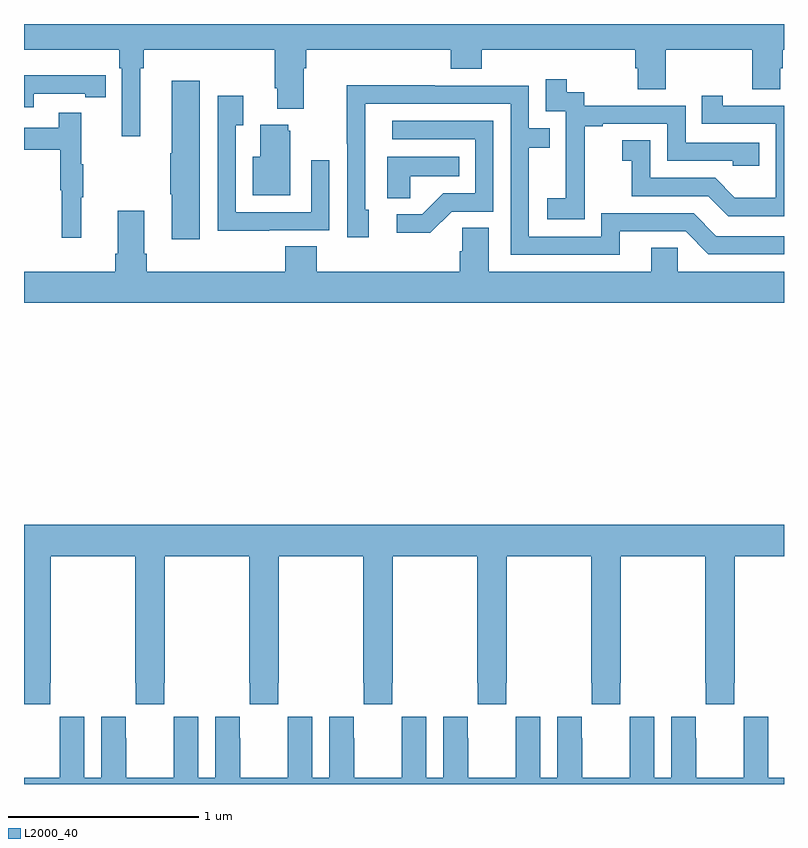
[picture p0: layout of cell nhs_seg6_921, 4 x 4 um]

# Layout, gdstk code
import gdstk
lib = gdstk.Library(unit=1e-6, precision=1e-09)
def P(c, l, *ps):  # polygons
    for p in ps: c.add(gdstk.Polygon(p, *l))
L2000_40 = (2000, 40)

nhs_seg6_921 = lib.new_cell('nhs_seg6_921')
P(nhs_seg6_921, L2000_40, [(169.612,919.268),(169.631,919.268),(169.631,919.364),(170.321,919.364),(170.321,919.162),(170.333,919.162),(170.333,919.055),(170.473,919.055),(170.473,919.268),(170.486,919.268),(170.486,919.364),(171.245,919.364),(171.245,919.265),(171.41,919.265),(171.41,919.364),(172.217,919.364),(172.217,919.266),(172.229,919.266),(172.229,919.156),(172.377,919.156),(172.377,919.364),(172.834,919.364),(172.834,919.156),(172.981,919.156),(172.981,919.266),(172.994,919.266),(172.994,919.364),(173,919.364),(173,919.5),(169,919.5),(169,919.364),(169.502,919.364),(169.502,919.268),(169.515,919.268),(169.515,918.909),(169.612,918.909)],
  [(169.05,919.134),(169.322,919.134),(169.322,919.114),(169.43,919.114),(169.43,919.23),(169.322,919.23),(169.322,919.231),(169,919.231),(169,919.062),(169.05,919.062)],
  [(171.951,918.679),(171.95,918.679),(171.95,918.963),(172.045,918.963),(172.045,918.975),(172.386,918.975),(172.386,918.78),(172.731,918.78),(172.731,918.753),(172.871,918.753),(172.871,918.876),(172.482,918.876),(172.482,919.071),(171.948,919.071),(171.948,919.14),(171.856,919.14),(171.856,919.21),(171.747,919.21),(171.747,919.041),(171.852,919.041),(171.852,918.812),(171.851,918.812),(171.851,918.583),(171.753,918.583),(171.753,918.473),(171.951,918.473)],
  [(169.924,919.201),(169.778,919.201),(169.778,918.821),(169.771,918.821),(169.771,918.604),(169.778,918.604),(169.778,918.366),(169.924,918.366)],
  [(172.135,918.408),(172.482,918.408),(172.602,918.288),(173,918.288),(173,918.384),(172.644,918.384),(172.524,918.504),(172.038,918.504),(172.038,918.381),(171.657,918.381),(171.657,918.85),(171.767,918.85),(171.767,918.951),(171.657,918.951),(171.657,919.176),(171.161,919.176),(171.161,919.178),(170.698,919.178),(170.698,918.871),(170.7,918.871),(170.7,918.378),(170.815,918.378),(170.815,918.522),(170.796,918.522),(170.796,919.08),(171.561,919.08),(171.561,918.285),(172.135,918.285)],
  [(170.291,918.414),(170.607,918.414),(170.607,918.784),(170.511,918.784),(170.511,918.51),(170.115,918.51),(170.115,918.967),(170.155,918.967),(170.155,919.123),(170.019,919.123),(170.019,918.413),(170.291,918.413)],
  [(173,919.071),(172.678,919.071),(172.678,919.123),(172.567,919.123),(172.567,918.975),(172.956,918.975),(172.956,918.586),(172.742,918.586),(172.638,918.69),(172.296,918.69),(172.296,918.889),(172.149,918.889),(172.149,918.779),(172.198,918.779),(172.198,918.594),(172.601,918.594),(172.706,918.489),(173,918.489)],
  [(169.301,918.587),(169.312,918.587),(169.312,918.761),(169.301,918.761),(169.301,919.033),(169.183,919.033),(169.183,918.954),(169,918.954),(169,918.838),(169.191,918.838),(169.191,918.624),(169.198,918.624),(169.198,918.375),(169.301,918.375)],
  [(171.252,918.513),(171.471,918.513),(171.471,918.99),(170.937,918.99),(170.937,918.894),(171.375,918.894),(171.375,918.609),(171.206,918.609),(171.095,918.498),(170.961,918.498),(170.961,918.401),(171.139,918.401)],
  [(170.401,918.939),(170.39,918.939),(170.39,918.97),(170.243,918.97),(170.243,918.802),(170.204,918.802),(170.204,918.599),(170.401,918.599)],
  [(171.033,918.698),(171.29,918.698),(171.29,918.802),(170.912,918.802),(170.912,918.583),(171.033,918.583)],
  [(173,918.196),(172.44,918.196),(172.44,918.323),(172.301,918.323),(172.301,918.196),(171.445,918.196),(171.445,918.428),(171.306,918.428),(171.306,918.305),(171.293,918.305),(171.293,918.196),(170.54,918.196),(170.54,918.329),(170.375,918.329),(170.375,918.196),(169.646,918.196),(169.646,918.292),(169.633,918.292),(169.633,918.517),(169.493,918.517),(169.493,918.292),(169.481,918.292),(169.481,918.196),(169,918.196),(169,918.032),(173,918.032)],
  [(169.137,916.033),(169.14,916.033),(169.14,916.7),(169.585,916.7),(169.585,916.033),(169.587,916.033),(169.587,915.921),(169.737,915.921),(169.737,916.033),(169.74,916.033),(169.74,916.7),(170.185,916.7),(170.185,916.033),(170.187,916.033),(170.187,915.921),(170.337,915.921),(170.337,916.033),(170.34,916.033),(170.34,916.7),(170.785,916.7),(170.785,916.033),(170.787,916.033),(170.787,915.921),(170.937,915.921),(170.937,916.033),(170.94,916.033),(170.94,916.7),(171.385,916.7),(171.385,916.033),(171.387,916.033),(171.387,915.921),(171.537,915.921),(171.537,916.033),(171.54,916.033),(171.54,916.7),(171.985,916.7),(171.985,916.033),(171.987,916.033),(171.987,915.921),(172.137,915.921),(172.137,916.033),(172.14,916.033),(172.14,916.7),(172.585,916.7),(172.585,916.033),(172.587,916.033),(172.587,915.921),(172.737,915.921),(172.737,916.033),(172.74,916.033),(172.74,916.7),(173,916.7),(173,916.864),(169,916.864),(169,915.921),(169.137,915.921)],
  [(173,915.532),(172.918,915.532),(172.918,915.853),(172.788,915.853),(172.788,915.74),(172.787,915.74),(172.787,915.532),(172.537,915.532),(172.537,915.74),(172.536,915.74),(172.536,915.853),(172.406,915.853),(172.406,915.532),(172.318,915.532),(172.318,915.853),(172.188,915.853),(172.188,915.74),(172.187,915.74),(172.187,915.532),(171.937,915.532),(171.937,915.74),(171.936,915.74),(171.936,915.853),(171.806,915.853),(171.806,915.532),(171.718,915.532),(171.718,915.853),(171.588,915.853),(171.588,915.74),(171.587,915.74),(171.587,915.532),(171.337,915.532),(171.337,915.74),(171.336,915.74),(171.336,915.853),(171.206,915.853),(171.206,915.532),(171.118,915.532),(171.118,915.853),(170.988,915.853),(170.988,915.74),(170.987,915.74),(170.987,915.532),(170.737,915.532),(170.737,915.74),(170.736,915.74),(170.736,915.853),(170.606,915.853),(170.606,915.532),(170.518,915.532),(170.518,915.853),(170.388,915.853),(170.388,915.74),(170.387,915.74),(170.387,915.532),(170.137,915.532),(170.137,915.74),(170.136,915.74),(170.136,915.853),(170.006,915.853),(170.006,915.532),(169.918,915.532),(169.918,915.853),(169.788,915.853),(169.788,915.74),(169.787,915.74),(169.787,915.532),(169.537,915.532),(169.537,915.74),(169.536,915.74),(169.536,915.853),(169.406,915.853),(169.406,915.532),(169.318,915.532),(169.318,915.853),(169.188,915.853),(169.188,915.74),(169.187,915.74),(169.187,915.532),(169,915.532),(169,915.5),(173,915.5)])

lib.write_gds('nhs_seg6_921.gds')
